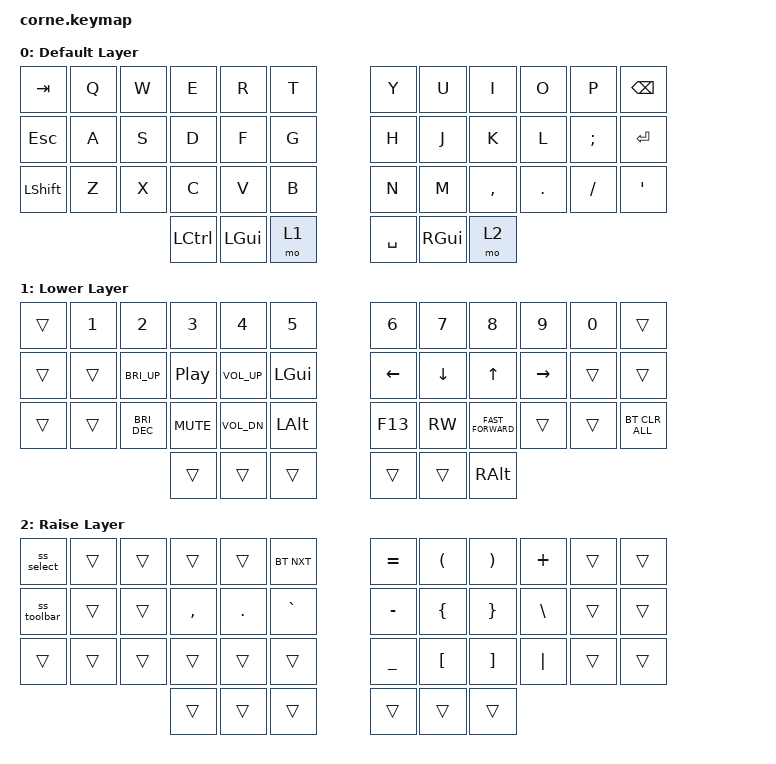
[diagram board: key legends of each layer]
/*
 * Copyright (c) 2020 The ZMK Contributors
 *
 * SPDX-License-Identifier: MIT
 */

#include <behaviors.dtsi>
#include <dt-bindings/zmk/bt.h>
#include <dt-bindings/zmk/keys.h>

/ {
    macros {
        ss_full: ss_full {
            compatible = "zmk,behavior-macro";
            label = "SS_FULL";
            #binding-cells = <0>;

            // ⌃ + ⌘ + ⇧ + 3  (full screen)

            bindings = <&kp LC(LG(LS(N3)))>;
        };

        ss_select: ss_select {
            compatible = "zmk,behavior-macro";
            label = "SS_SELECT";
            #binding-cells = <0>;

            // ⌘ + ⇧ + 4  (selection)

            bindings = <&kp LG(LS(N4))>;
        };

        ss_toolbar: ss_toolbar {
            compatible = "zmk,behavior-macro";
            label = "SS_TOOLBAR";
            #binding-cells = <0>;

            // ⌘ + ⇧ + 5  (toolbar)

            bindings = <&kp LG(LS(N5))>;
        };

        ss_select_clip: ss_select_clip {
            compatible = "zmk,behavior-macro";
            label = "SS_SELECT_CLIP";
            #binding-cells = <0>;

            // ⌃ + ⌘ + ⇧ + 4  (selection to clipboard)

            bindings = <&kp LC(LG(LS(N4)))>;
        };
    };

    keymap {
        compatible = "zmk,keymap";

        default_layer {
            display-name = "Default Layer";

            // -----------------------------------------------------------------------------------------
            // |  TAB |  Q  |  W  |  E  |  R  |  T  |   |  Y  |  U   |  I  |  O  |  P  | BSPC |
            // | ESC  |  A  |  S  |  D  |  F  |  G  |   |  H  |  J   |  K  |  L  |  ;  | RET  |
            // | SHFT |  Z  |  X  |  C  |  V  |  B  |   |  N  |  M   |  ,  |  .  |  /  | ESC  |
            //                    |LCTRL|LCMD | LWR |   | SPC | RCMD  | RSE |

            bindings = <
&kp TAB    &kp Q  &kp W  &kp E      &kp R     &kp T    &kp Y      &kp U     &kp I      &kp O    &kp P     &kp BSPC
&kp ESC    &kp A  &kp S  &kp D      &kp F     &kp G    &kp H      &kp J     &kp K      &kp L    &kp SEMI  &kp RET
&kp LSHFT  &kp Z  &kp X  &kp C      &kp V     &kp B    &kp N      &kp M     &kp COMMA  &kp DOT  &kp FSLH  &kp SQT
                         &kp LCTRL  &kp LGUI  &mo 1    &kp SPACE  &kp RGUI  &mo 2
            >;
        };

        lower_layer {
            display-name = "Lower Layer";

            // -----------------------------------------------------------------------------------------
            // |  TAB |  1  |  2  |  3  |  4  |  5  |   |  6  |  7  |  8  |  9  |  0  | BSPC |
            // | BTCLR| BT1 | BT2 | BT3 | BT4 | BT5 |   | LFT | DWN |  UP | RGT |     |      |
            // | SHFT |     |     |     |     |     |   |     |     |     |     |     |      |
            //                    | GUI |     | SPC |   | ENT |     | ALT |

            bindings = <
&trans  &kp NUMBER_1  &kp NUMBER_2   &kp NUMBER_3  &kp NUMBER_4     &kp NUMBER_5    &kp NUMBER_6  &kp NUMBER_7    &kp NUMBER_8        &kp NUMBER_9     &kp N0  &trans
&trans  &trans        &kp C_BRI_UP   &kp C_PP      &kp C_VOLUME_UP  &kp LEFT_GUI    &kp LEFT      &kp DOWN_ARROW  &kp UP_ARROW        &kp RIGHT_ARROW  &trans  &trans
&trans  &trans        &kp C_BRI_DEC  &kp K_MUTE    &kp C_VOL_DN     &kp LEFT_ALT    &kp F13       &kp C_RW        &kp C_FAST_FORWARD  &trans           &trans  &bt BT_CLR_ALL
                                     &trans        &trans           &trans          &trans        &trans          &kp RALT
            >;
        };

        raise_layer {
            display-name = "Raise Layer";

            // -----------------------------------------------------------------------------------------
            // |  TAB |  !  |  @  |  #  |  $  |  %  |   |  ^  |  &  |  *  |  (  |  )  | BSPC |
            // | CTRL |     |     |     |     |     |   |  -  |  =  |  [  |  ]  |  \  |  `   |
            // | SHFT |     |     |     |     |     |   |  _  |  +  |  {  |  }  | "|" |  ~   |
            //                    | GUI |     | SPC |   | ENT |     | ALT |

            bindings = <
&ss_select   &trans  &trans  &trans     &trans      &bt BT_NXT    &kp EQUAL  &kp LEFT_PARENTHESIS  &kp RIGHT_PARENTHESIS  &kp PLUS       &trans  &trans
&ss_toolbar  &trans  &trans  &kp COMMA  &kp PERIOD  &kp GRAVE     &kp MINUS  &kp LEFT_BRACE        &kp RIGHT_BRACE        &kp BACKSLASH  &trans  &trans
&trans       &trans  &trans  &trans     &trans      &trans        &kp UNDER  &kp LEFT_BRACKET      &kp RIGHT_BRACKET      &kp PIPE       &trans  &trans
                             &trans     &trans      &trans        &trans     &trans                &trans
            >;
        };
    };
};
